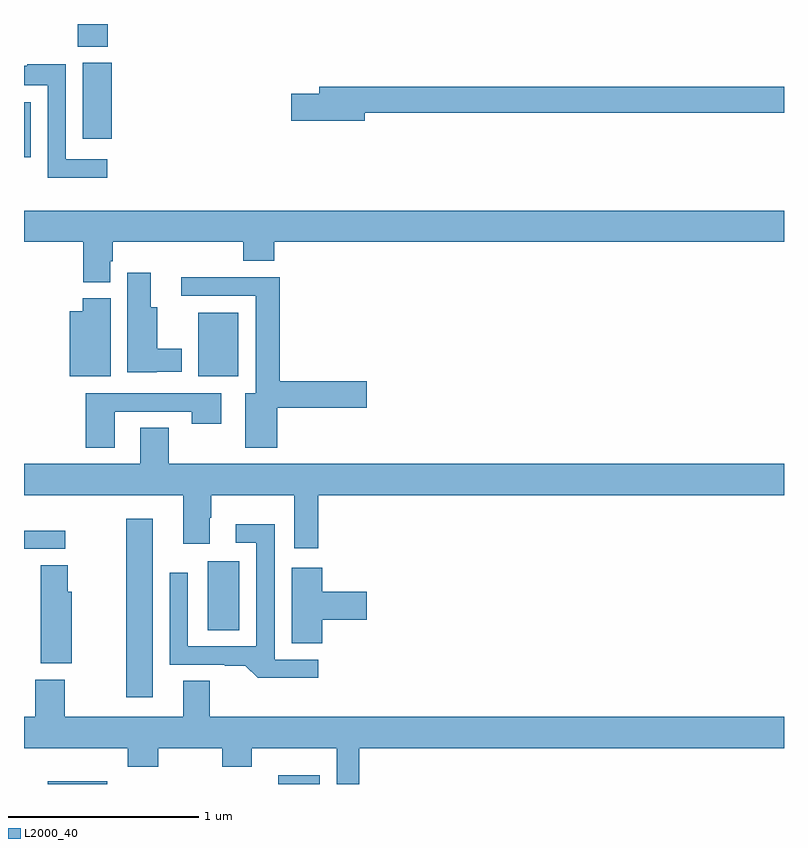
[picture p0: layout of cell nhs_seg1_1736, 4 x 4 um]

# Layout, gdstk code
import gdstk
lib = gdstk.Library(unit=1e-6, precision=1e-09)
def R(c, l, rs):  # rectangles x0, y0, x1, y1
    for r in rs: c.add(gdstk.rectangle(r[:2], r[2:], *l))
def P(c, l, *ps):  # polygons
    for p in ps: c.add(gdstk.Polygon(p, *l))
L2000_40 = (2000, 40)

nhs_seg1_1736 = lib.new_cell('nhs_seg1_1736')
R(nhs_seg1_1736, L2000_40, [(205.125,562.199,205.438,562.213), (206.337,562.199,206.556,562.246), (205.537,562.656,205.678,563.596), (205.967,563.008,206.134,563.371), (205,563.436,205.216,563.532), (205.916,564.344,206.128,564.679), (205,565.499,205.036,565.786), (205.31,565.596,205.463,565.995), (205.282,566.08,205.442,566.199)])
P(nhs_seg1_1736, L2000_40, [(205.438,565.488),(205.221,565.488),(205.221,565.988),(205.018,565.988),(205.018,565.978),(205,565.978),(205,565.877),(205.125,565.877),(205.125,565.391),(205.438,565.391)],
  [(206.794,565.732),(209,565.732),(209,565.868),(206.555,565.868),(206.555,565.832),(206.406,565.832),(206.406,565.69),(206.794,565.69)],
  [(205.453,564.951),(205.466,564.951),(205.466,565.052),(206.153,565.052),(206.153,564.953),(206.318,564.953),(206.318,565.052),(209,565.052),(209,565.216),(205,565.216),(205,565.052),(205.313,565.052),(205.313,564.841),(205.453,564.841)],
  [(205.698,564.368),(205.831,564.368),(205.831,564.49),(205.702,564.49),(205.702,564.709),(205.666,564.709),(205.666,564.889),(205.544,564.889),(205.544,564.365),(205.698,564.365)],
  [(206.332,564.178),(206.803,564.178),(206.803,564.32),(206.345,564.32),(206.345,564.866),(205.827,564.866),(205.827,564.768),(206.219,564.768),(206.219,564.256),(206.165,564.256),(206.165,563.97),(206.332,563.97)],
  [(205.456,564.756),(205.31,564.756),(205.31,564.688),(205.241,564.688),(205.241,564.344),(205.456,564.344)],
  [(205.477,564.159),(205.882,564.159),(205.882,564.096),(206.038,564.096),(206.038,564.255),(205.325,564.255),(205.325,563.97),(205.477,563.97)],
  [(206.549,563.72),(209,563.72),(209,563.884),(205.761,563.884),(205.761,564.074),(205.613,564.074),(205.613,563.884),(205,563.884),(205,563.72),(205.838,563.72),(205.838,563.463),(205.978,563.463),(205.978,563.6),(205.986,563.6),(205.986,563.72),(206.423,563.72),(206.423,563.439),(206.549,563.439)],
  [(206.548,562.854),(206.319,562.854),(206.319,563.566),(206.115,563.566),(206.115,563.469),(206.223,563.469),(206.223,562.923),(205.863,562.923),(205.863,563.311),(205.767,563.311),(205.767,562.827),(206.057,562.827),(206.057,562.822),(206.165,562.822),(206.231,562.757),(206.548,562.757)],
  [(205.251,563.211),(205.23,563.211),(205.23,563.351),(205.088,563.351),(205.088,562.835),(205.251,562.835)],
  [(206.57,563.063),(206.803,563.063),(206.803,563.21),(206.57,563.21),(206.57,563.338),(206.408,563.338),(206.408,562.939),(206.57,562.939)],
  [(206.764,562.388),(209,562.388),(209,562.552),(205.978,562.552),(205.978,562.742),(205.838,562.742),(205.838,562.552),(205.215,562.552),(205.215,562.747),(205.06,562.747),(205.06,562.552),(205,562.552),(205,562.388),(205.547,562.388),(205.547,562.289),(205.707,562.289),(205.707,562.388),(206.044,562.388),(206.044,562.289),(206.199,562.289),(206.199,562.388),(206.645,562.388),(206.645,562.199),(206.764,562.199)])

lib.write_gds('nhs_seg1_1736.gds')
